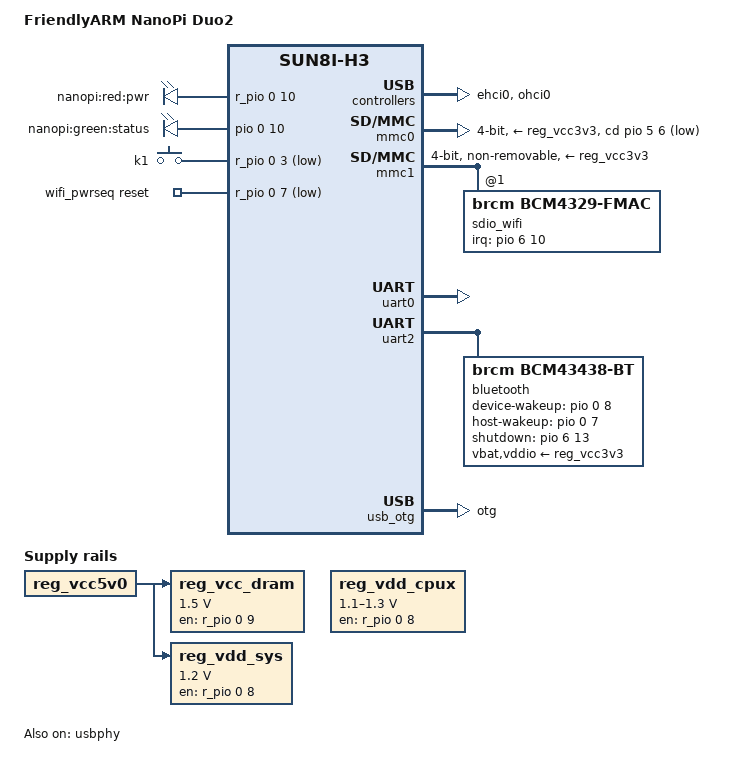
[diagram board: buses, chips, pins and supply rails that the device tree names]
// SPDX-License-Identifier: (GPL-2.0+ OR MIT)
/*
 * Copyright (C) 2019 Karl Palsson <karlp@tweak.net.au>
 */

/dts-v1/;
#include "sun8i-h3.dtsi"
#include "sunxi-common-regulators.dtsi"

#include <dt-bindings/gpio/gpio.h>
#include <dt-bindings/input/input.h>

/ {
	model = "FriendlyARM NanoPi Duo2";
	compatible = "friendlyarm,nanopi-duo2", "allwinner,sun8i-h3";

	aliases {
		serial0 = &uart0;
	};

	chosen {
		stdout-path = "serial0:115200n8";
	};

	leds {
		compatible = "gpio-leds";

		pwr {
			label = "nanopi:red:pwr";
			gpios = <&r_pio 0 10 GPIO_ACTIVE_HIGH>; /* PL10 */
			default-state = "on";
		};

		status {
			label = "nanopi:green:status";
			gpios = <&pio 0 10 GPIO_ACTIVE_HIGH>; /* PA10 */
		};
	};

	r_gpio_keys {
		compatible = "gpio-keys";

		k1 {
			label = "k1";
			linux,code = <BTN_0>;
			gpios = <&r_pio 0 3 GPIO_ACTIVE_LOW>; /* PL3 */
		};
	};

	reg_vdd_cpux: vdd-cpux-regulator {
		compatible = "regulator-gpio";
		regulator-name = "vdd-cpux";
		regulator-min-microvolt = <1100000>;
		regulator-max-microvolt = <1300000>;
		regulator-always-on;
		regulator-boot-on;
		regulator-ramp-delay = <50>; /* 4ms */

		enable-active-high;
		enable-gpio = <&r_pio 0 8 GPIO_ACTIVE_HIGH>; /* PL8 */
		gpios = <&r_pio 0 6 GPIO_ACTIVE_HIGH>; /* PL6 */
		gpios-states = <0x1>;
		states = <1100000 0x0
			  1300000 0x1>;
	};

	reg_vcc_dram: vcc-dram {
		compatible = "regulator-fixed";
		regulator-name = "vcc-dram";
		regulator-min-microvolt = <1500000>;
		regulator-max-microvolt = <1500000>;
		regulator-always-on;
		regulator-boot-on;
		enable-active-high;
		gpio = <&r_pio 0 9 GPIO_ACTIVE_HIGH>; /* PL9 */
		vin-supply = <&reg_vcc5v0>;
        };

	reg_vdd_sys: vdd-sys {
		compatible = "regulator-fixed";
		regulator-name = "vdd-sys";
		regulator-min-microvolt = <1200000>;
		regulator-max-microvolt = <1200000>;
		regulator-always-on;
		regulator-boot-on;
		enable-active-high;
		gpio = <&r_pio 0 8 GPIO_ACTIVE_HIGH>; /* PL8 */
		vin-supply = <&reg_vcc5v0>;
        };

	wifi_pwrseq: wifi_pwrseq {
		compatible = "mmc-pwrseq-simple";
		reset-gpios = <&r_pio 0 7 GPIO_ACTIVE_LOW>; /* PL7 */
		clocks = <&rtc 1>;
		clock-names = "ext_clock";
	};

};

&cpu0 {
	cpu-supply = <&reg_vdd_cpux>;
};

&ehci0 {
	status = "okay";
};

&mmc0 {
	bus-width = <4>;
	cd-gpios = <&pio 5 6 GPIO_ACTIVE_LOW>; /* PF6 */
	status = "okay";
	vmmc-supply = <&reg_vcc3v3>;
};

&mmc1 {
	vmmc-supply = <&reg_vcc3v3>;
	vqmmc-supply = <&reg_vcc3v3>;
	mmc-pwrseq = <&wifi_pwrseq>;
	bus-width = <4>;
	non-removable;
	status = "okay";

	sdio_wifi: sdio_wifi@1 {
		reg = <1>;
		compatible = "brcm,bcm4329-fmac";
		interrupt-parent = <&pio>;
		interrupts = <6 10 IRQ_TYPE_LEVEL_LOW>; /* PG10 / EINT10 */
		interrupt-names = "host-wake";
	};
};

&ohci0 {
	status = "okay";
};

&reg_usb0_vbus {
	gpio = <&r_pio 0 2 GPIO_ACTIVE_HIGH>; /* PL2 */
	status = "okay";
};

&uart0 {
	pinctrl-names = "default";
	pinctrl-0 = <&uart0_pa_pins>;
	status = "okay";
};

&uart2 {
	pinctrl-names = "default";
	pinctrl-0 = <&uart2_pins>, <&uart2_rts_cts_pins>;
	uart-has-rtscts;
	status = "okay";

	bluetooth {
		compatible = "brcm,bcm43438-bt";
		clocks = <&rtc 1>;
		clock-names = "lpo";
		vbat-supply = <&reg_vcc3v3>;
		vddio-supply = <&reg_vcc3v3>;
		device-wakeup-gpios = <&pio 0 8 GPIO_ACTIVE_HIGH>; /* PA8 */
		host-wakeup-gpios = <&pio 0 7 GPIO_ACTIVE_HIGH>; /* PA7 */
		shutdown-gpios = <&pio 6 13 GPIO_ACTIVE_HIGH>; /* PG13 */
	};
};

&usb_otg {
	status = "okay";
	dr_mode = "otg";
};

&usbphy {
	usb0_id_det-gpios = <&pio 6 12 GPIO_ACTIVE_HIGH>; /* PG12 */
	usb0_vbus-supply = <&reg_usb0_vbus>;
	status = "okay";
};
